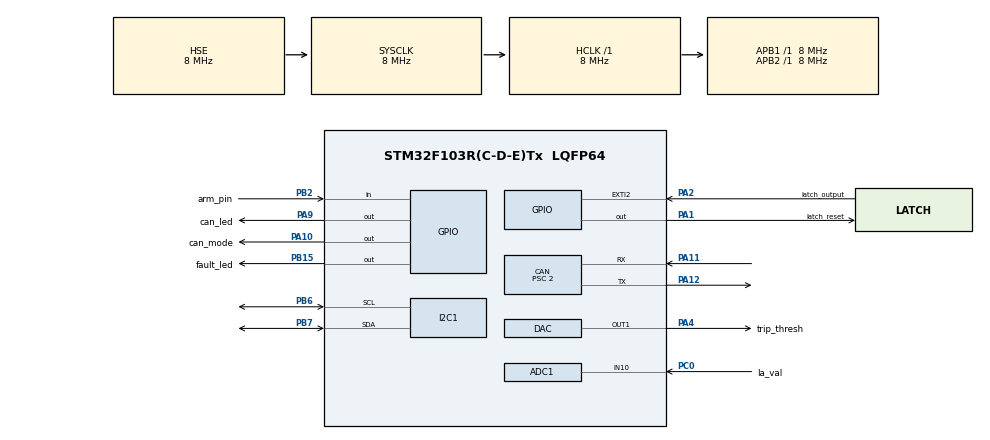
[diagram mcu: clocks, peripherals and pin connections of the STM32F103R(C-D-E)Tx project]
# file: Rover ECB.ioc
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ADC1.Channel-0\#ChannelRegularConversion=ADC_CHANNEL_10
ADC1.NbrOfConversionFlag=1
ADC1.Rank-0\#ChannelRegularConversion=1
ADC1.SamplingTime-0\#ChannelRegularConversion=ADC_SAMPLETIME_239CYCLES_5
ADC1.master=1
CAN.BS1=CAN_BS1_2TQ
CAN.CalculateBaudRate=1000000
CAN.CalculateTimeBit=1000
CAN.CalculateTimeQuantum=250.0
CAN.Mode=CAN_MODE_NORMAL
CAN.Prescaler=2
DAC.DAC_OutputBuffer=DAC_OUTPUTBUFFER_DISABLE
Mcu.Family=STM32F1
Mcu.Name=STM32F103R(C-D-E)Tx
Mcu.Package=LQFP64
NVIC.EXTI2_IRQn=true\:0\:0\:false\:false\:true\:true\:true\:true
NVIC.PVD_IRQn=true\:0\:0\:false\:false\:true\:true\:true\:true
NVIC.PriorityGroup=NVIC_PRIORITYGROUP_4
NVIC.TIM2_IRQn=true\:0\:0\:false\:false\:true\:true\:true\:true
NVIC.TIM6_IRQn=true\:0\:0\:false\:false\:true\:true\:true\:true
NVIC.TIM7_IRQn=true\:0\:0\:false\:false\:true\:true\:true\:true
PA1.GPIO_Label=latch_reset
PA1.GPIO_PuPd=GPIO_PULLDOWN
PA1.Signal=GPIO_Output
PA10.GPIO_Label=can_mode
PA10.GPIO_PuPd=GPIO_NOPULL
PA10.Signal=GPIO_Output
PA11.Mode=CAN_Activate
PA11.Signal=CAN_RX
PA12.Mode=CAN_Activate
PA12.Signal=CAN_TX
PA13.Mode=Serial_Wire
PA13.Signal=SYS_JTMS-SWDIO
PA14.Mode=Serial_Wire
PA14.Signal=SYS_JTCK-SWCLK
PA2.GPIO_Label=latch_output
PA2.GPIO_ModeDefaultEXTI=GPIO_MODE_IT_RISING
PA2.GPIO_PuPd=GPIO_PULLDOWN
PA2.Signal=GPXTI2
PA4.GPIO_Label=trip_thresh
PA4.Signal=COMP_DAC1_group
PA9.GPIO_Label=can_led
PA9.GPIO_PuPd=GPIO_NOPULL
PA9.Signal=GPIO_Output
PB15.GPIO_Label=fault_led
PB15.Signal=GPIO_Output
PB2.GPIO_Label=arm_pin
PB2.GPIO_PuPd=GPIO_PULLDOWN
PB2.Signal=GPIO_Input
PB6.Mode=I2C
PB6.Signal=I2C1_SCL
PB7.Mode=I2C
PB7.Signal=I2C1_SDA
PC0.GPIO_Label=Ia_val
PC0.GPIO_Mode=GPIO_MODE_ANALOG
PC0.Signal=ADCx_IN10
PD0-OSC_IN.Mode=HSE-External-Clock-Source
PD0-OSC_IN.Signal=RCC_OSC_IN
PD1-OSC_OUT.Mode=HSE-External-Clock-Source
PD1-OSC_OUT.Signal=RCC_OSC_OUT
ProjectManager.HeapSize=0x200
ProjectManager.StackSize=0x400
ProjectManager.TargetToolchain=STM32CubeIDE
RCC.AHBFreq_Value=8000000
RCC.APB1Freq_Value=8000000
RCC.APB1TimFreq_Value=8000000
RCC.APB2Freq_Value=8000000
RCC.APB2TimFreq_Value=8000000
RCC.HCLKFreq_Value=8000000
RCC.PLLSourceVirtual=RCC_PLLSOURCE_HSE
RCC.SYSCLKFreq_VALUE=8000000
RCC.SYSCLKSource=RCC_SYSCLKSOURCE_HSE
RCC.USBFreq_Value=16000000
SH.ADCx_IN10.0=ADC1_IN10,IN10
SH.COMP_DAC1_group.0=DAC_OUT1,DAC_OUT1
TIM2.Period=499
TIM2.Prescaler=7999
TIM6.Prescaler=7999
TIM7.Prescaler=7999
VP_TIM2_VS_ClockSourceINT.Mode=Internal
VP_TIM6_VS_ClockSourceINT.Mode=Enable_Timer
VP_TIM7_VS_ClockSourceINT.Mode=Enable_Timer
board=custom

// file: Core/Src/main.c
/* USER CODE BEGIN Header */
/**
  ******************************************************************************
  * @file           : main.c
  * @brief          : Main program body
  ******************************************************************************
  * @attention
  *
  * Copyright (c) 2026 STMicroelectronics.
  * All rights reserved.
  *
  * This software is licensed under terms that can be found in the LICENSE file
  * in the root directory of this software component.
  * If no LICENSE file comes with this software, it is provided AS-IS.
  *
  ******************************************************************************
  */
/* USER CODE END Header */
#include "main.h"

/* USER CODE BEGIN Includes */
#include "stdbool.h"
/* USER CODE END Includes */

/* USER CODE BEGIN PD */
	#define VREF 3.3f
/* USER CODE END PD */

/* USER CODE BEGIN PM */

	#define ADC_TO_VOLTAGE(raw)  ((float)(raw) / 4095.0f * VREF)
/* USER CODE END PM */

ADC_HandleTypeDef hadc1;

CAN_HandleTypeDef hcan;

DAC_HandleTypeDef hdac;

I2C_HandleTypeDef hi2c1;

TIM_HandleTypeDef htim2;
TIM_HandleTypeDef htim6;
TIM_HandleTypeDef htim7;

/* USER CODE BEGIN PV */
uint32_t error_blink_interval = 200;
uint32_t normal_blink_interval = 4000;
uint32_t last_blink = 0;

bool arm_pressed = false;
uint32_t arm_pressed_tick = 0;

uint32_t telemetry_send_rate = 500;
volatile bool system_tripped = false;

uint32_t dac_val = 4095;

/* USER CODE END PV */

void SystemClock_Config(void);
static void MX_GPIO_Init(void);
static void MX_CAN_Init(void);
static void MX_DAC_Init(void);
static void MX_I2C1_Init(void);
static void MX_ADC1_Init(void);
static void MX_TIM2_Init(void);
static void MX_TIM6_Init(void);
static void MX_TIM7_Init(void);
/* USER CODE BEGIN PFP */
void Reset_Latch(void);
void Set_Dac(uint32_t val);
void Generate_Telemetry(void);
/* USER CODE END PFP */

int main(void)
{

  /* MCU Configuration--------------------------------------------------------*/

  /* Reset of all peripherals, Initializes the Flash interface and the Systick. */
  HAL_Init();

  /* Configure the system clock */
  SystemClock_Config();

  /* Initialize all configured peripherals */
  MX_GPIO_Init();
  MX_CAN_Init();
  MX_DAC_Init();
  MX_I2C1_Init();
  MX_ADC1_Init();
  MX_TIM2_Init();
  MX_TIM6_Init();
  MX_TIM7_Init();
  /* USER CODE BEGIN 2 */
  HAL_DAC_Start(&hdac, DAC_CHANNEL_1);  // Start the DAC
  Set_Dac(dac_val);

  if(HAL_GPIO_ReadPin (GPIOA, GPIO_PIN_2) == GPIO_PIN_SET){
	  system_tripped = true;
  }

  /* USER CODE END 2 */

  /* Infinite loop */
  /* USER CODE BEGIN WHILE */
  while (1)
  {

	  if(system_tripped && (HAL_GetTick() - last_blink >= error_blink_interval)){ //blink fault led rapidly if system is tripped
		  HAL_GPIO_TogglePin(GPIOB, fault_led_Pin);
		  last_blink = HAL_GetTick();
	  }
	  else if(system_tripped == false && (HAL_GetTick() - last_blink >= normal_blink_interval)){ // flash led very briefly if system is not tripped
		  HAL_GPIO_WritePin(GPIOB, fault_led_Pin, GPIO_PIN_RESET); //turn led on
		  last_blink = HAL_GetTick();

		  HAL_TIM_Base_Stop_IT(&htim6);
		  __HAL_TIM_SET_AUTORELOAD(&htim6, 50 - 1); // configure timer 6 to trigger interrupt in 50 ms
		  __HAL_TIM_SET_COUNTER(&htim6, 0);
		  __HAL_TIM_CLEAR_FLAG(&htim6, TIM_FLAG_UPDATE);
		  HAL_TIM_Base_Start_IT(&htim6); // start timer
	  }

	  //check if the arm pin is being pressed
	  if(HAL_GPIO_ReadPin(GPIOB, arm_pin_Pin) == GPIO_PIN_SET && arm_pressed == false){
		  arm_pressed = true;
		  arm_pressed_tick = HAL_GetTick();
	  } else if(HAL_GPIO_ReadPin(GPIOB, arm_pin_Pin) == GPIO_PIN_RESET){
		  arm_pressed = false;
	  }

	  if(system_tripped && arm_pressed && (HAL_GetTick() - arm_pressed_tick >= 1500)){ // reset the latch if the system is tripped and the arm pin has been held for longer than 1.5s
		  system_tripped = false;
		  Reset_Latch();
		  for(uint32_t i = 0; i < 5; i++){ //blink led quicklu a few times
			  HAL_GPIO_TogglePin(GPIOB, fault_led_Pin);
			  HAL_Delay(100);
		  }
		  HAL_GPIO_WritePin(GPIOB, fault_led_Pin, GPIO_PIN_SET); //turn led off
	  }

    /* USER CODE END WHILE */

  }
}

void SystemClock_Config(void)
{
  RCC_OscInitTypeDef RCC_OscInitStruct = {0};
  RCC_ClkInitTypeDef RCC_ClkInitStruct = {0};
  RCC_PeriphCLKInitTypeDef PeriphClkInit = {0};

  /** Initializes the RCC Oscillators according to the specified parameters
  * in the RCC_OscInitTypeDef structure.
  */
  RCC_OscInitStruct.OscillatorType = RCC_OSCILLATORTYPE_HSE;
  RCC_OscInitStruct.HSEState = RCC_HSE_BYPASS;
  RCC_OscInitStruct.PLL.PLLState = RCC_PLL_NONE;
  if (HAL_RCC_OscConfig(&RCC_OscInitStruct) != HAL_OK)
  {
    Error_Handler();
  }

  /** Initializes the CPU, AHB and APB buses clocks
  */
  RCC_ClkInitStruct.ClockType = RCC_CLOCKTYPE_HCLK|RCC_CLOCKTYPE_SYSCLK
                              |RCC_CLOCKTYPE_PCLK1|RCC_CLOCKTYPE_PCLK2;
  RCC_ClkInitStruct.SYSCLKSource = RCC_SYSCLKSOURCE_HSE;
  RCC_ClkInitStruct.AHBCLKDivider = RCC_SYSCLK_DIV1;
  RCC_ClkInitStruct.APB1CLKDivider = RCC_HCLK_DIV1;
  RCC_ClkInitStruct.APB2CLKDivider = RCC_HCLK_DIV1;

  if (HAL_RCC_ClockConfig(&RCC_ClkInitStruct, FLASH_LATENCY_0) != HAL_OK)
  {
    Error_Handler();
  }
  PeriphClkInit.PeriphClockSelection = RCC_PERIPHCLK_ADC;
  PeriphClkInit.AdcClockSelection = RCC_ADCPCLK2_DIV2;
  if (HAL_RCCEx_PeriphCLKConfig(&PeriphClkInit) != HAL_OK)
  {
    Error_Handler();
  }
}

static void MX_ADC1_Init(void)
{

  ADC_ChannelConfTypeDef sConfig = {0};

  /** Common config
  */
  hadc1.Instance = ADC1;
  hadc1.Init.ScanConvMode = ADC_SCAN_DISABLE;
  hadc1.Init.ContinuousConvMode = DISABLE;
  hadc1.Init.DiscontinuousConvMode = DISABLE;
  hadc1.Init.ExternalTrigConv = ADC_SOFTWARE_START;
  hadc1.Init.DataAlign = ADC_DATAALIGN_RIGHT;
  hadc1.Init.NbrOfConversion = 1;
  if (HAL_ADC_Init(&hadc1) != HAL_OK)
  {
    Error_Handler();
  }

  /** Configure Regular Channel
  */
  sConfig.Channel = ADC_CHANNEL_10;
  sConfig.Rank = ADC_REGULAR_RANK_1;
  sConfig.SamplingTime = ADC_SAMPLETIME_239CYCLES_5;
  if (HAL_ADC_ConfigChannel(&hadc1, &sConfig) != HAL_OK)
  {
    Error_Handler();
  }

}

static void MX_CAN_Init(void)
{

  hcan.Instance = CAN1;
  hcan.Init.Prescaler = 2;
  hcan.Init.Mode = CAN_MODE_NORMAL;
  hcan.Init.SyncJumpWidth = CAN_SJW_1TQ;
  hcan.Init.TimeSeg1 = CAN_BS1_2TQ;
  hcan.Init.TimeSeg2 = CAN_BS2_1TQ;
  hcan.Init.TimeTriggeredMode = DISABLE;
  hcan.Init.AutoBusOff = DISABLE;
  hcan.Init.AutoWakeUp = DISABLE;
  hcan.Init.AutoRetransmission = DISABLE;
  hcan.Init.ReceiveFifoLocked = DISABLE;
  hcan.Init.TransmitFifoPriority = DISABLE;
  if (HAL_CAN_Init(&hcan) != HAL_OK)
  {
    Error_Handler();
  }

}

static void MX_DAC_Init(void)
{

  DAC_ChannelConfTypeDef sConfig = {0};

  /** DAC Initialization
  */
  hdac.Instance = DAC;
  if (HAL_DAC_Init(&hdac) != HAL_OK)
  {
    Error_Handler();
  }

  /** DAC channel OUT1 config
  */
  sConfig.DAC_Trigger = DAC_TRIGGER_NONE;
  sConfig.DAC_OutputBuffer = DAC_OUTPUTBUFFER_DISABLE;
  if (HAL_DAC_ConfigChannel(&hdac, &sConfig, DAC_CHANNEL_1) != HAL_OK)
  {
    Error_Handler();
  }

}

static void MX_I2C1_Init(void)
{

  hi2c1.Instance = I2C1;
  hi2c1.Init.ClockSpeed = 100000;
  hi2c1.Init.DutyCycle = I2C_DUTYCYCLE_2;
  hi2c1.Init.OwnAddress1 = 0;
  hi2c1.Init.AddressingMode = I2C_ADDRESSINGMODE_7BIT;
  hi2c1.Init.DualAddressMode = I2C_DUALADDRESS_DISABLE;
  hi2c1.Init.OwnAddress2 = 0;
  hi2c1.Init.GeneralCallMode = I2C_GENERALCALL_DISABLE;
  hi2c1.Init.NoStretchMode = I2C_NOSTRETCH_DISABLE;
  if (HAL_I2C_Init(&hi2c1) != HAL_OK)
  {
    Error_Handler();
  }

}

static void MX_TIM2_Init(void)
{

  TIM_ClockConfigTypeDef sClockSourceConfig = {0};
  TIM_MasterConfigTypeDef sMasterConfig = {0};

  htim2.Instance = TIM2;
  htim2.Init.Prescaler = 7999;
  htim2.Init.CounterMode = TIM_COUNTERMODE_UP;
  htim2.Init.Period = 499;
  htim2.Init.ClockDivision = TIM_CLOCKDIVISION_DIV1;
  htim2.Init.AutoReloadPreload = TIM_AUTORELOAD_PRELOAD_DISABLE;
  if (HAL_TIM_Base_Init(&htim2) != HAL_OK)
  {
    Error_Handler();
  }
  sClockSourceConfig.ClockSource = TIM_CLOCKSOURCE_INTERNAL;
  if (HAL_TIM_ConfigClockSource(&htim2, &sClockSourceConfig) != HAL_OK)
  {
    Error_Handler();
  }
  sMasterConfig.MasterOutputTrigger = TIM_TRGO_RESET;
  sMasterConfig.MasterSlaveMode = TIM_MASTERSLAVEMODE_DISABLE;
  if (HAL_TIMEx_MasterConfigSynchronization(&htim2, &sMasterConfig) != HAL_OK)
  {
    Error_Handler();
  }

}

static void MX_TIM6_Init(void)
{

  TIM_MasterConfigTypeDef sMasterConfig = {0};

  htim6.Instance = TIM6;
  htim6.Init.Prescaler = 7999;
  htim6.Init.CounterMode = TIM_COUNTERMODE_UP;
  htim6.Init.Period = 65535;
  htim6.Init.AutoReloadPreload = TIM_AUTORELOAD_PRELOAD_DISABLE;
  if (HAL_TIM_Base_Init(&htim6) != HAL_OK)
  {
    Error_Handler();
  }
  sMasterConfig.MasterOutputTrigger = TIM_TRGO_RESET;
  sMasterConfig.MasterSlaveMode = TIM_MASTERSLAVEMODE_DISABLE;
  if (HAL_TIMEx_MasterConfigSynchronization(&htim6, &sMasterConfig) != HAL_OK)
  {
    Error_Handler();
  }

}

static void MX_TIM7_Init(void)
{

  TIM_MasterConfigTypeDef sMasterConfig = {0};

  htim7.Instance = TIM7;
  htim7.Init.Prescaler = 7999;
  htim7.Init.CounterMode = TIM_COUNTERMODE_UP;
  htim7.Init.Period = 65535;
  htim7.Init.AutoReloadPreload = TIM_AUTORELOAD_PRELOAD_DISABLE;
  if (HAL_TIM_Base_Init(&htim7) != HAL_OK)
  {
    Error_Handler();
  }
  sMasterConfig.MasterOutputTrigger = TIM_TRGO_RESET;
  sMasterConfig.MasterSlaveMode = TIM_MASTERSLAVEMODE_DISABLE;
  if (HAL_TIMEx_MasterConfigSynchronization(&htim7, &sMasterConfig) != HAL_OK)
  {
    Error_Handler();
  }

}

static void MX_GPIO_Init(void)
{
  GPIO_InitTypeDef GPIO_InitStruct = {0};

  /* GPIO Ports Clock Enable */
  __HAL_RCC_GPIOD_CLK_ENABLE();
  __HAL_RCC_GPIOC_CLK_ENABLE();
  __HAL_RCC_GPIOA_CLK_ENABLE();
  __HAL_RCC_GPIOB_CLK_ENABLE();

  /*Configure GPIO pin Output Level */
  HAL_GPIO_WritePin(GPIOA, latch_reset_Pin|can_led_Pin|can_mode_Pin, GPIO_PIN_RESET);

  /*Configure GPIO pin Output Level */
  HAL_GPIO_WritePin(fault_led_GPIO_Port, fault_led_Pin, GPIO_PIN_RESET);

  /*Configure GPIO pin : latch_reset_Pin */
  GPIO_InitStruct.Pin = latch_reset_Pin;
  GPIO_InitStruct.Mode = GPIO_MODE_OUTPUT_PP;
  GPIO_InitStruct.Pull = GPIO_PULLDOWN;
  GPIO_InitStruct.Speed = GPIO_SPEED_FREQ_LOW;
  HAL_GPIO_Init(latch_reset_GPIO_Port, &GPIO_InitStruct);

  /*Configure GPIO pin : latch_output_Pin */
  GPIO_InitStruct.Pin = latch_output_Pin;
  GPIO_InitStruct.Mode = GPIO_MODE_IT_RISING;
  GPIO_InitStruct.Pull = GPIO_PULLDOWN;
  HAL_GPIO_Init(latch_output_GPIO_Port, &GPIO_InitStruct);

  /*Configure GPIO pin : arm_pin_Pin */
  GPIO_InitStruct.Pin = arm_pin_Pin;
  GPIO_InitStruct.Mode = GPIO_MODE_INPUT;
  GPIO_InitStruct.Pull = GPIO_PULLDOWN;
  HAL_GPIO_Init(arm_pin_GPIO_Port, &GPIO_InitStruct);

  /*Configure GPIO pin : fault_led_Pin */
  GPIO_InitStruct.Pin = fault_led_Pin;
  GPIO_InitStruct.Mode = GPIO_MODE_OUTPUT_PP;
  GPIO_InitStruct.Pull = GPIO_NOPULL;
  GPIO_InitStruct.Speed = GPIO_SPEED_FREQ_LOW;
  HAL_GPIO_Init(fault_led_GPIO_Port, &GPIO_InitStruct);

  /*Configure GPIO pins : can_led_Pin can_mode_Pin */
  GPIO_InitStruct.Pin = can_led_Pin|can_mode_Pin;
  GPIO_InitStruct.Mode = GPIO_MODE_OUTPUT_PP;
  GPIO_InitStruct.Pull = GPIO_NOPULL;
  GPIO_InitStruct.Speed = GPIO_SPEED_FREQ_LOW;
  HAL_GPIO_Init(GPIOA, &GPIO_InitStruct);

  /* EXTI interrupt init*/
  HAL_NVIC_SetPriority(EXTI2_IRQn, 0, 0);
  HAL_NVIC_EnableIRQ(EXTI2_IRQn);

}

/* USER CODE BEGIN 4 */
void HAL_TIM_PeriodElapsedCallback(TIM_HandleTypeDef *htim)
{
    if (htim->Instance == TIM6)
    {
        //stop the timer so it doesn't repeat
        HAL_TIM_Base_Stop_IT(&htim6);
		HAL_GPIO_WritePin(GPIOB, fault_led_Pin, GPIO_PIN_SET); // turn off led
    } else if (htim->Instance == TIM7)
    {
        //stop the timer so it doesn't repeat
        HAL_TIM_Base_Stop_IT(&htim7);
		HAL_GPIO_WritePin(GPIOA, latch_reset_Pin, GPIO_PIN_RESET); // turn off reset pin
    }
}

void HAL_GPIO_EXTI_Callback(uint16_t GPIO_Pin)
{
    if (GPIO_Pin == GPIO_PIN_2 && system_tripped == false) //if the latch gets tripped
    {
        system_tripped = true;
    }

}

void Reset_Latch(void){
	//generate a 100ms pulse on the reset pin
	HAL_GPIO_WritePin(GPIOA, latch_reset_Pin, GPIO_PIN_SET);

	  HAL_TIM_Base_Stop_IT(&htim7);
	  __HAL_TIM_SET_AUTORELOAD(&htim7, 100 - 1); // configure timer 6 to trigger interrupt in 100 ms
	  __HAL_TIM_SET_COUNTER(&htim7, 0);
	  __HAL_TIM_CLEAR_FLAG(&htim7, TIM_FLAG_UPDATE);
	  HAL_TIM_Base_Start_IT(&htim7); // start timer
}

void Set_Dac(uint32_t val){
	HAL_DAC_SetValue(&hdac, DAC_CHANNEL_1, DAC_ALIGN_12B_R, val);
}

void Generate_Telemetry(void){

	HAL_ADC_Start(&hadc1); // grab a analog value
	HAL_ADC_PollForConversion(&hadc1, HAL_MAX_DELAY);
	uint32_t raw = HAL_ADC_GetValue(&hadc1);

	HAL_ADC_Stop(&hadc1); // stop the adc to preserve batt (probably nto needed)

	float voltage = ADC_TO_VOLTAGE(raw); // gpt macro to convert adc to vol

}
/* USER CODE END 4 */

void Error_Handler(void)
{
  __disable_irq();
  while (1)
  {
  }
}
